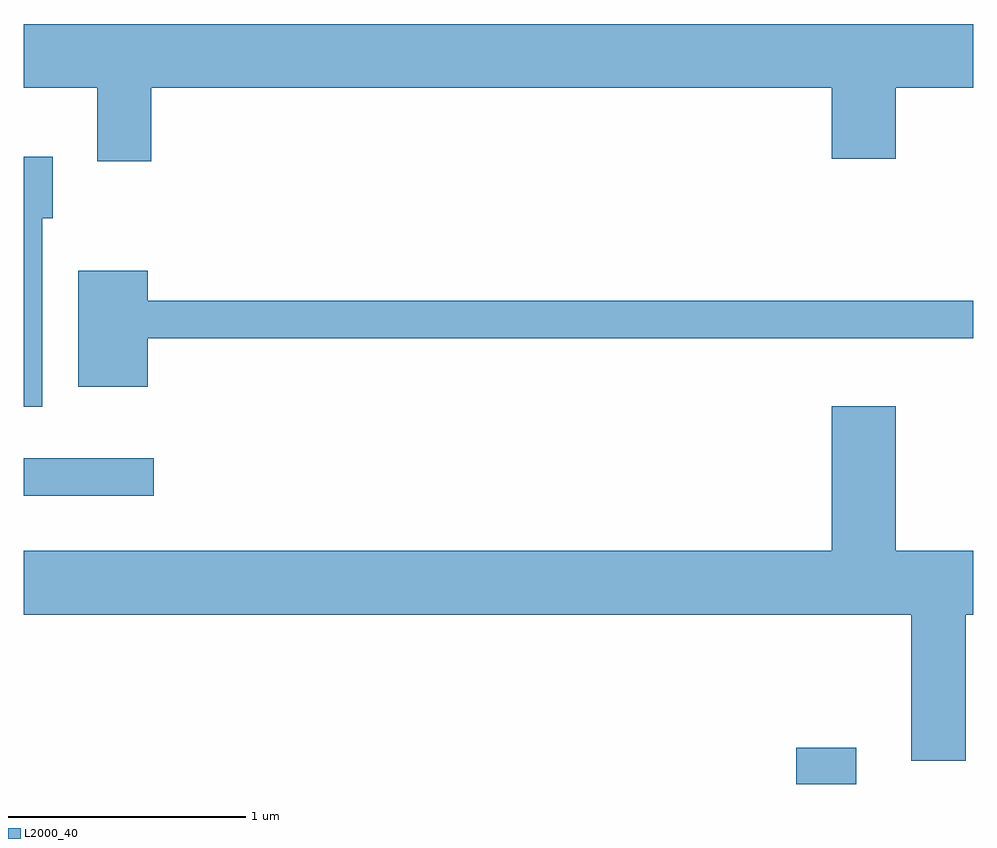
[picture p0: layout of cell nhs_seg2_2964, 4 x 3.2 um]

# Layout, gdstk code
import gdstk
lib = gdstk.Library(unit=1e-6, precision=1e-09)
def R(c, l, rs):  # rectangles x0, y0, x1, y1
    for r in rs: c.add(gdstk.rectangle(r[:2], r[2:], *l))
def P(c, l, *ps):  # polygons
    for p in ps: c.add(gdstk.Polygon(p, *l))
L2000_40 = (2000, 40)

nhs_seg2_2964 = lib.new_cell('nhs_seg2_2964')
R(nhs_seg2_2964, L2000_40, [(274.866,1069.802,275.119,1069.954), (271.611,1071.016,272.158,1071.174)])
P(nhs_seg2_2964, L2000_40, [(272.149,1072.736),(275.016,1072.736),(275.016,1072.436),(275.284,1072.436),(275.284,1072.736),(275.611,1072.736),(275.611,1073.004),(271.611,1073.004),(271.611,1072.736),(271.921,1072.736),(271.921,1072.426),(272.149,1072.426)],
  [(271.689,1072.186),(271.734,1072.186),(271.734,1072.444),(271.611,1072.444),(271.611,1071.391),(271.689,1071.391)],
  [(272.134,1071.681),(275.611,1071.681),(275.611,1071.839),(272.134,1071.839),(272.134,1071.964),(271.841,1071.964),(271.841,1071.476),(272.134,1071.476)],
  [(275.579,1070.516),(275.611,1070.516),(275.611,1070.784),(275.284,1070.784),(275.284,1071.394),(275.016,1071.394),(275.016,1070.784),(271.611,1070.784),(271.611,1070.516),(275.351,1070.516),(275.351,1069.901),(275.579,1069.901)])

lib.write_gds('nhs_seg2_2964.gds')
